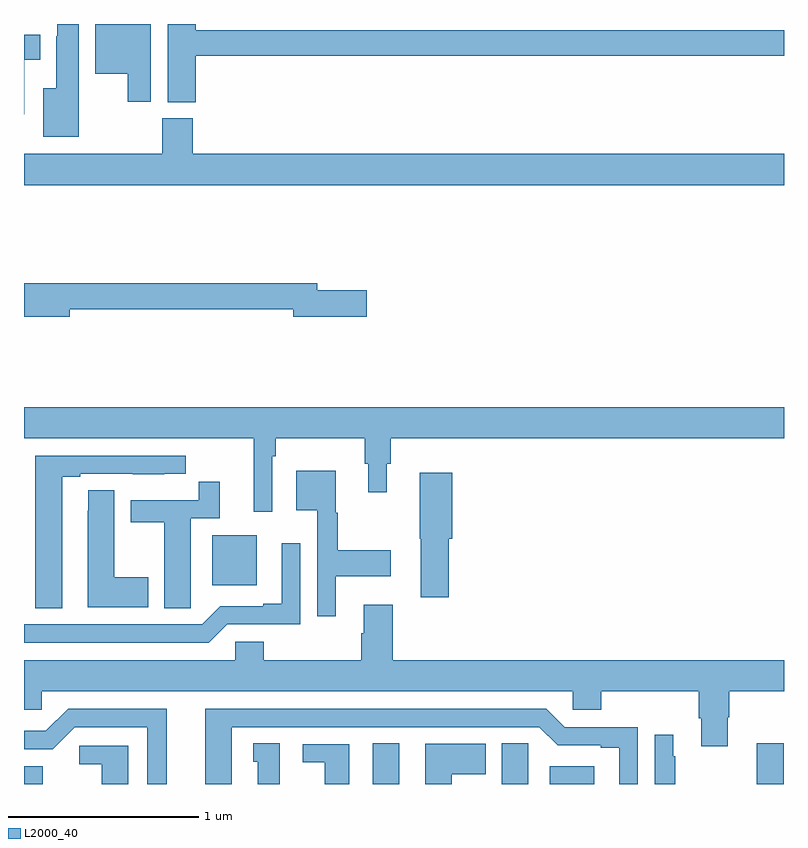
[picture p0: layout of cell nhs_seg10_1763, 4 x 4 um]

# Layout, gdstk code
import gdstk
lib = gdstk.Library(unit=1e-6, precision=1e-09)
def R(c, l, rs):  # rectangles x0, y0, x1, y1
    for r in rs: c.add(gdstk.rectangle(r[:2], r[2:], *l))
def P(c, l, *ps):  # polygons
    for p in ps: c.add(gdstk.Polygon(p, *l))
L2000_40 = (2000, 40)

nhs_seg10_1763 = lib.new_cell('nhs_seg10_1763')
R(nhs_seg10_1763, L2000_40, [(203,1294.5,203.098,1294.594), (204.836,1294.5,204.976,1294.715), (205.766,1294.5,206.002,1294.594), (206.857,1294.5,206.998,1294.714), (203.99,1295.546,204.226,1295.809)])
P(nhs_seg10_1763, L2000_40, [(203.903,1298.332),(207,1298.332),(207,1298.468),(203.903,1298.468),(203.903,1298.5),(203.756,1298.5),(203.756,1298.089),(203.903,1298.089)],
  [(203.668,1298.5),(203.375,1298.5),(203.375,1298.237),(203.546,1298.237),(203.546,1298.091),(203.668,1298.091)],
  [(203.287,1298.5),(203.175,1298.5),(203.175,1298.435),(203.171,1298.435),(203.171,1298.161),(203.102,1298.161),(203.102,1297.907),(203.287,1297.907)],
  [(203.002,1298.312),(203.086,1298.312),(203.086,1298.443),(203,1298.443),(203,1298.025),(203.002,1298.025)],
  [(207,1297.816),(203.888,1297.816),(203.888,1298.004),(203.728,1298.004),(203.728,1297.816),(203,1297.816),(203,1297.652),(207,1297.652)],
  [(203.242,1297),(204.416,1297),(204.416,1296.958),(204.805,1296.958),(204.805,1297.1),(204.544,1297.1),(204.544,1297.136),(203,1297.136),(203,1296.958),(203.242,1296.958)],
  [(204.306,1296.224),(204.326,1296.224),(204.326,1296.32),(204.793,1296.32),(204.793,1296.186),(204.812,1296.186),(204.812,1296.036),(204.91,1296.036),(204.91,1296.186),(204.929,1296.186),(204.929,1296.32),(207,1296.32),(207,1296.484),(203,1296.484),(203,1296.32),(204.209,1296.32),(204.209,1295.934),(204.306,1295.934)],
  [(203.2,1296.117),(203.296,1296.117),(203.296,1296.132),(203.572,1296.132),(203.572,1296.131),(203.738,1296.131),(203.738,1296.132),(203.851,1296.132),(203.851,1296.228),(203.06,1296.228),(203.06,1295.425),(203.2,1295.425)],
  [(204.64,1295.594),(204.931,1295.594),(204.931,1295.729),(204.652,1295.729),(204.652,1295.928),(204.64,1295.928),(204.64,1296.148),(204.434,1296.148),(204.434,1295.942),(204.543,1295.942),(204.543,1295.382),(204.64,1295.382)],
  [(205.235,1295.79),(205.253,1295.79),(205.253,1296.139),(205.082,1296.139),(205.082,1295.79),(205.088,1295.79),(205.088,1295.484),(205.235,1295.484)],
  [(203.877,1295.536),(203.878,1295.536),(203.878,1295.898),(204.029,1295.898),(204.029,1296.091),(203.92,1296.091),(203.92,1295.994),(203.561,1295.994),(203.561,1295.878),(203.738,1295.878),(203.738,1295.425),(203.877,1295.425)],
  [(203.653,1295.589),(203.476,1295.589),(203.476,1296.047),(203.337,1296.047),(203.337,1295.939),(203.336,1295.939),(203.336,1295.429),(203.653,1295.429)],
  [(204.069,1295.34),(204.453,1295.34),(204.453,1295.767),(204.356,1295.767),(204.356,1295.449),(204.26,1295.449),(204.26,1295.436),(204.033,1295.436),(203.937,1295.34),(203,1295.34),(203,1295.244),(203.973,1295.244)],
  [(206.704,1294.851),(206.712,1294.851),(206.712,1294.988),(207,1294.988),(207,1295.152),(204.941,1295.152),(204.941,1295.443),(204.788,1295.443),(204.788,1295.294),(204.776,1295.294),(204.776,1295.152),(204.263,1295.152),(204.263,1295.25),(204.111,1295.25),(204.111,1295.152),(203,1295.152),(203,1294.89),(203.094,1294.89),(203.094,1294.988),(205.887,1294.988),(205.887,1294.89),(206.039,1294.89),(206.039,1294.988),(206.552,1294.988),(206.552,1294.846),(206.564,1294.846),(206.564,1294.698),(206.704,1294.698)],
  [(203.752,1294.896),(203.232,1294.896),(203.115,1294.779),(203,1294.779),(203,1294.683),(203.151,1294.683),(203.268,1294.8),(203.648,1294.8),(203.648,1294.5),(203.752,1294.5)],
  [(204.094,1294.8),(205.713,1294.8),(205.809,1294.704),(206.036,1294.704),(206.036,1294.692),(206.132,1294.692),(206.132,1294.5),(206.229,1294.5),(206.229,1294.8),(205.845,1294.8),(205.749,1294.896),(203.954,1294.896),(203.954,1294.5),(204.094,1294.5)],
  [(206.428,1294.646),(206.416,1294.646),(206.416,1294.759),(206.319,1294.759),(206.319,1294.5),(206.428,1294.5)],
  [(204.346,1294.715),(204.206,1294.715),(204.206,1294.617),(204.23,1294.617),(204.23,1294.5),(204.346,1294.5)],
  [(205.654,1294.604),(205.653,1294.604),(205.653,1294.715),(205.514,1294.715),(205.514,1294.5),(205.654,1294.5)],
  [(205.252,1294.552),(205.429,1294.552),(205.429,1294.711),(205.112,1294.711),(205.112,1294.5),(205.252,1294.5)],
  [(204.712,1294.71),(204.468,1294.71),(204.468,1294.614),(204.584,1294.614),(204.584,1294.5),(204.712,1294.5)],
  [(203.548,1294.701),(203.292,1294.701),(203.292,1294.604),(203.408,1294.604),(203.408,1294.5),(203.548,1294.5)])

lib.write_gds('nhs_seg10_1763.gds')
